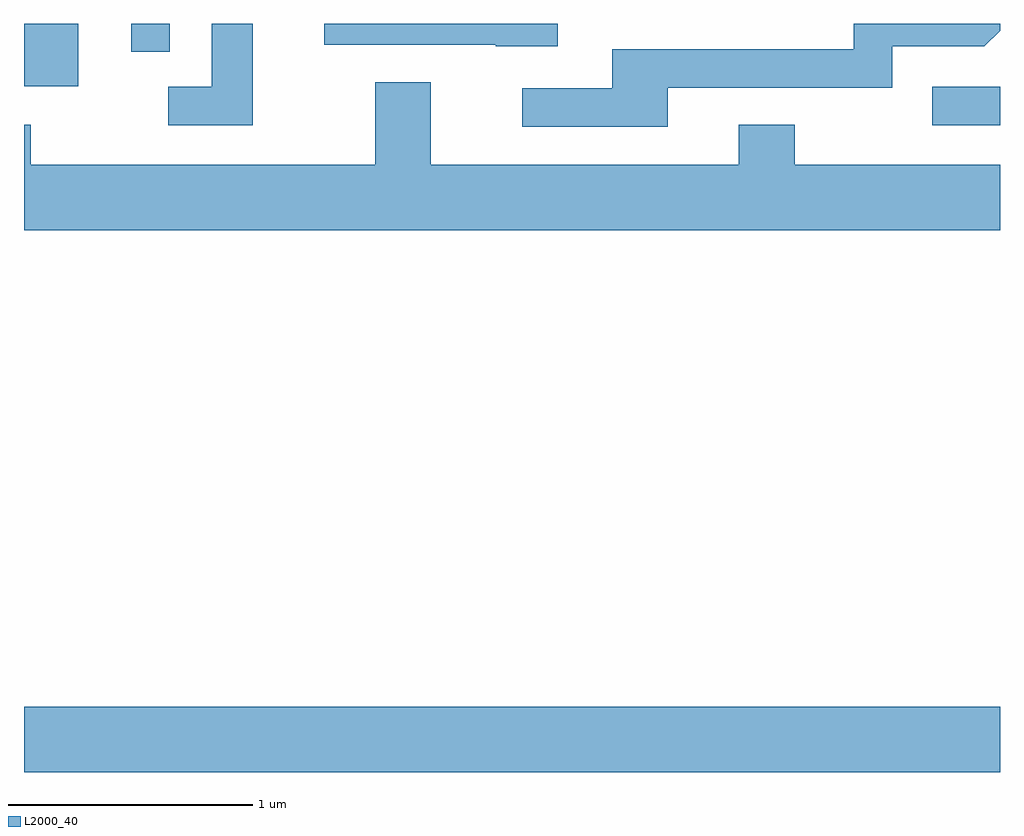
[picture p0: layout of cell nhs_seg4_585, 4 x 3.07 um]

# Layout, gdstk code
import gdstk
lib = gdstk.Library(unit=1e-6, precision=1e-09)
def R(c, l, rs):  # rectangles x0, y0, x1, y1
    for r in rs: c.add(gdstk.rectangle(r[:2], r[2:], *l))
def P(c, l, *ps):  # polygons
    for p in ps: c.add(gdstk.Polygon(p, *l))
L2000_40 = (2000, 40)

nhs_seg4_585 = lib.new_cell('nhs_seg4_585')
R(nhs_seg4_585, L2000_40, [(201.611,1336.916,205.611,1337.184), (205.333,1339.566,205.611,1339.724), (201.611,1339.726,201.834,1339.982), (202.051,1339.868,202.209,1339.982)])
P(nhs_seg4_585, L2000_40, [(204.249,1339.721),(205.169,1339.721),(205.169,1339.891),(205.547,1339.891),(205.611,1339.955),(205.611,1339.982),(205.011,1339.982),(205.011,1339.879),(204.021,1339.879),(204.021,1339.719),(203.653,1339.719),(203.653,1339.561),(204.249,1339.561)],
  [(203.799,1339.982),(202.841,1339.982),(202.841,1339.896),(203.545,1339.896),(203.545,1339.891),(203.799,1339.891)],
  [(202.549,1339.982),(202.381,1339.982),(202.381,1339.724),(202.203,1339.724),(202.203,1339.566),(202.549,1339.566)],
  [(205.611,1339.404),(204.769,1339.404),(204.769,1339.569),(204.541,1339.569),(204.541,1339.404),(203.279,1339.404),(203.279,1339.744),(203.051,1339.744),(203.051,1339.404),(201.639,1339.404),(201.639,1339.569),(201.611,1339.569),(201.611,1339.136),(205.611,1339.136)])

lib.write_gds('nhs_seg4_585.gds')
